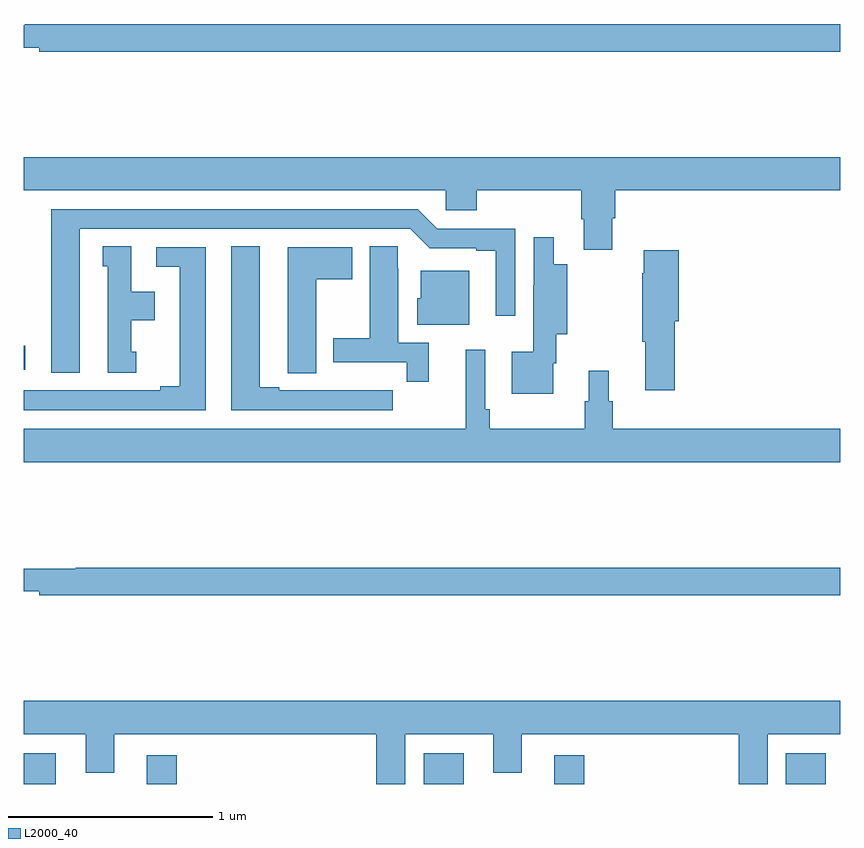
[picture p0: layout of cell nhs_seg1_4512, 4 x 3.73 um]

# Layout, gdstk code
import gdstk
lib = gdstk.Library(unit=1e-6, precision=1e-09)
def R(c, l, rs):  # rectangles x0, y0, x1, y1
    for r in rs: c.add(gdstk.rectangle(r[:2], r[2:], *l))
def P(c, l, *ps):  # polygons
    for p in ps: c.add(gdstk.Polygon(p, *l))
L2000_40 = (2000, 40)

nhs_seg1_4512 = lib.new_cell('nhs_seg1_4512')
R(nhs_seg1_4512, L2000_40, [(357,506.199,357.157,506.35), (357.602,506.199,357.749,506.341), (358.959,506.199,359.155,506.35), (359.6,506.199,359.747,506.341), (360.735,506.199,360.931,506.35), (357,508.23,357.007,508.346)])
P(nhs_seg1_4512, L2000_40, [(361,509.924),(357.005,509.924),(357.005,509.917),(357,509.917),(357,509.807),(357.076,509.807),(357.076,509.788),(361,509.788)],
  [(359.884,508.971),(359.897,508.971),(359.897,509.108),(361,509.108),(361,509.272),(357,509.272),(357,509.108),(359.067,509.108),(359.067,509.01),(359.219,509.01),(359.219,509.108),(359.732,509.108),(359.732,508.966),(359.744,508.966),(359.744,508.818),(359.884,508.818)],
  [(357.274,508.92),(358.893,508.92),(358.989,508.824),(359.216,508.824),(359.216,508.812),(359.312,508.812),(359.312,508.494),(359.409,508.494),(359.409,508.92),(359.025,508.92),(358.929,509.016),(357.134,509.016),(357.134,508.215),(357.274,508.215)],
  [(359.595,508.262),(359.608,508.262),(359.608,508.403),(359.664,508.403),(359.664,508.747),(359.596,508.747),(359.596,508.879),(359.498,508.879),(359.498,508.643),(359.497,508.643),(359.497,508.318),(359.39,508.318),(359.39,508.112),(359.595,508.112)],
  [(358.807,508.128),(358.694,508.128),(358.694,508.129),(358.528,508.129),(358.528,508.128),(358.252,508.128),(358.252,508.143),(358.156,508.143),(358.156,508.835),(358.016,508.835),(358.016,508.032),(358.807,508.032)],
  [(357.55,508.317),(357.526,508.317),(357.526,508.472),(357.64,508.472),(357.64,508.612),(357.526,508.612),(357.526,508.835),(357.386,508.835),(357.386,508.737),(357.41,508.737),(357.41,508.215),(357.55,508.215)],
  [(358.985,508.362),(358.834,508.362),(358.834,508.724),(358.833,508.724),(358.833,508.835),(358.694,508.835),(358.694,508.383),(358.517,508.383),(358.517,508.266),(358.876,508.266),(358.876,508.17),(358.985,508.17)],
  [(358.432,508.672),(358.609,508.672),(358.609,508.831),(358.292,508.831),(358.292,508.321),(358.293,508.321),(358.293,508.213),(358.432,508.213)],
  [(357.892,508.83),(357.648,508.83),(357.648,508.734),(357.764,508.734),(357.764,508.148),(357.668,508.148),(357.668,508.128),(357,508.128),(357,508.032),(357.892,508.032)],
  [(360.191,508.467),(360.209,508.467),(360.209,508.816),(360.038,508.816),(360.038,508.703),(360.031,508.703),(360.031,508.367),(360.044,508.367),(360.044,508.128),(360.191,508.128)],
  [(359.182,508.714),(358.946,508.714),(358.946,508.581),(358.928,508.581),(358.928,508.451),(359.182,508.451)],
  [(361,507.94),(359.885,507.94),(359.885,508.074),(359.866,508.074),(359.866,508.225),(359.768,508.225),(359.768,508.074),(359.749,508.074),(359.749,507.94),(359.282,507.94),(359.282,508.036),(359.262,508.036),(359.262,508.327),(359.165,508.327),(359.165,507.94),(357,507.94),(357,507.776),(361,507.776)],
  [(361,507.26),(357.255,507.26),(357.255,507.253),(357,507.253),(357,507.143),(357.076,507.143),(357.076,507.124),(361,507.124)],
  [(358.87,506.444),(359.3,506.444),(359.3,506.254),(359.44,506.254),(359.44,506.444),(360.503,506.444),(360.503,506.199),(360.646,506.199),(360.646,506.444),(361,506.444),(361,506.608),(357,506.608),(357,506.444),(357.302,506.444),(357.302,506.254),(357.442,506.254),(357.442,506.444),(358.727,506.444),(358.727,506.199),(358.87,506.199)])

lib.write_gds('nhs_seg1_4512.gds')
